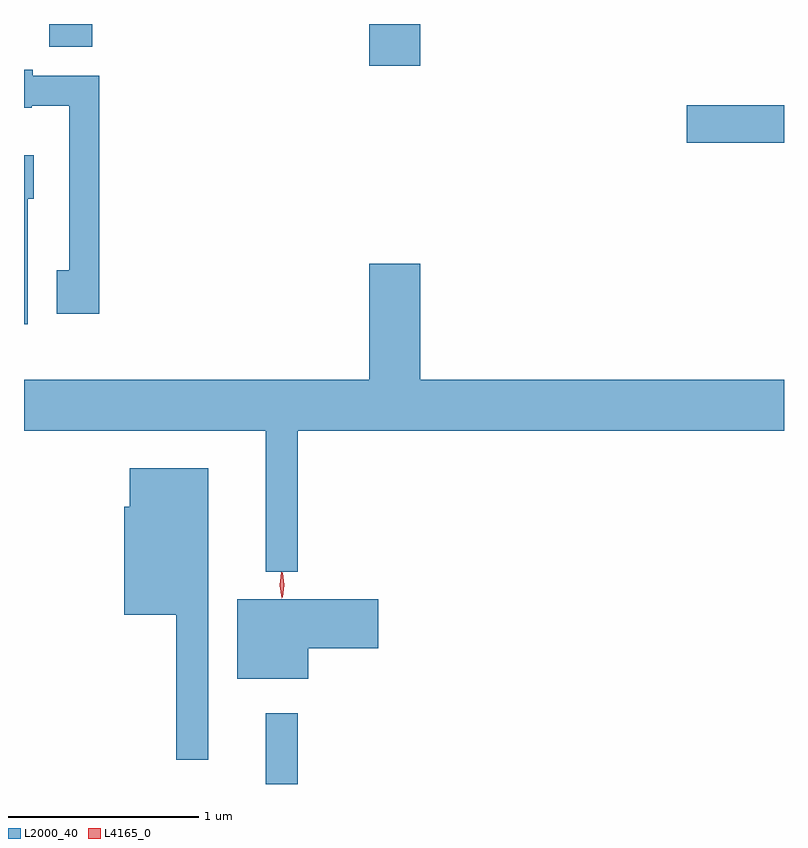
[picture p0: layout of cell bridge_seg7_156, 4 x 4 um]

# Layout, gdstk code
import gdstk
lib = gdstk.Library(unit=1e-6, precision=1e-09)
def R(c, l, rs):  # rectangles x0, y0, x1, y1
    for r in rs: c.add(gdstk.rectangle(r[:2], r[2:], *l))
def P(c, l, *ps):  # polygons
    for p in ps: c.add(gdstk.Polygon(p, *l))
L2000_40 = (2000, 40)
L4165_0 = (4165, 0)

bridge_seg7_156 = lib.new_cell('bridge_seg7_156')
R(bridge_seg7_156, L2000_40, [(1633.111,1699.136,1633.279,1699.508), (1635.326,1702.511,1635.839,1702.709), (1633.656,1702.916,1633.924,1703.136), (1631.971,1703.016,1632.199,1703.136)])
P(bridge_seg7_156, L2000_40, [(1632.234,1702.864),(1631.884,1702.864),(1631.884,1702.894),(1631.839,1702.894),(1631.839,1702.696),(1631.88,1702.696),(1631.88,1702.706),(1632.076,1702.706),(1632.076,1701.839),(1632.011,1701.839),(1632.011,1701.611),(1632.234,1701.611)],
  [(1631.859,1702.216),(1631.889,1702.216),(1631.889,1702.444),(1631.839,1702.444),(1631.839,1701.556),(1631.859,1701.556)],
  [(1633.279,1700.996),(1635.839,1700.996),(1635.839,1701.264),(1633.924,1701.264),(1633.924,1701.874),(1633.656,1701.874),(1633.656,1701.264),(1631.839,1701.264),(1631.839,1700.996),(1633.111,1700.996),(1633.111,1700.253),(1633.279,1700.253)],
  [(1632.809,1700.799),(1632.396,1700.799),(1632.396,1700.594),(1632.366,1700.594),(1632.366,1700.026),(1632.641,1700.026),(1632.641,1699.263),(1632.809,1699.263)],
  [(1633.334,1699.851),(1633.704,1699.851),(1633.704,1700.109),(1632.961,1700.109),(1632.961,1699.691),(1633.334,1699.691)])
P(bridge_seg7_156, L4165_0, [(1633.195,1700.114),(1633.185,1700.182),(1633.194,1700.25),(1633.195,1700.25),(1633.195,1700.25),(1633.205,1700.182),(1633.196,1700.114),(1633.196,1700.114)],
  [(1633.199,1700.12),(1633.199,1700.12),(1633.189,1700.184),(1633.199,1700.247),(1633.199,1700.247),(1633.2,1700.247),(1633.209,1700.184),(1633.2,1700.12)])

lib.write_gds('bridge_seg7_156.gds')
